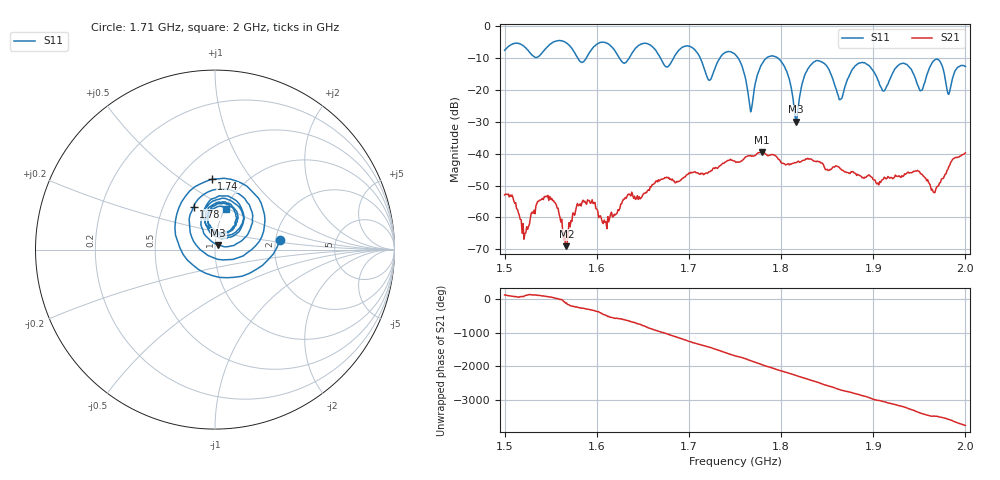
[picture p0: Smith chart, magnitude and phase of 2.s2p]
! NanoVNA-App by SYSJOINT et al v1.1.209 (+OD18)
! Date: 2026-01-21 14:18:56
! Start: 1,5GHz Stop: 2GHz Points: 501
! S-Parameter data: F S11 S21 S12 S22
# Hz S RI R 50
!  Frequency  S11_Real  S11_Imag  S21_Real  S21_Imag  S12_Real  S12_Imag  S22_Real  S22_Imag
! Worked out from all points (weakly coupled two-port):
!   501 points, 1.5 GHz to 2 GHz, reference 50 ohm
!   highest |S21| = -39.44 dB at 1.779 GHz (marker M1); lowest = -69.0 dB at 1.567 GHz (marker M2)
!   lowest |S11| = -30.0 dB at 1.816 GHz (marker M3), VSWR 1.07, Z = 51.7 + j2.74 ohm
!   |S11| at or under -10 dB: 1.712 GHz to 1.734 GHz (21.19 MHz wide, 1.23 % of centre); 1.753 GHz to 1.784 GHz (30.57 MHz wide, 1.73 % of centre); 1.797 GHz to end of sweep (the widest 3 of 6)
!   S12 and S22 are empty: the file has one direction only
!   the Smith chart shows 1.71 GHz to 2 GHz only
!   S11 on the Smith chart (normalised r, x): 1.71 GHz: 2.12, +0.26; 1.74 GHz: 0.71, +0.66; 1.78 GHz: 0.71, +0.36; 2 GHz: 1.02, +0.49
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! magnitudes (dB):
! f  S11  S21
! 1.5 GHz  -7.5  -53.0
! 1.521 GHz  -6.3  -66.8
! 1.551 GHz  -5.3  -54.0
! 1.567 GHz  -5.2  -69.0
! 1.584 GHz  -11.3  -55.3
! 1.609 GHz  -5.1  -61.5
! 1.667 GHz  -8.9  -48.1
! 1.71 GHz  -8.7  -46.1
! 1.74 GHz  -8.1  -42.5
! 1.75 GHz  -8.8  -42.4
! 1.767 GHz  -26.8  -40.5
! 1.779 GHz  -12.0  -39.4
! 1.78 GHz  -11.5  -39.5
! 1.802 GHz  -11.8  -43.0
! 1.816 GHz  -30.0  -42.8
! 1.834 GHz  -11.6  -42.0
! 1.864 GHz  -23.1  -44.6
! 1.886 GHz  -11.5  -46.9
! 1.917 GHz  -17.3  -47.4
! 1.966 GHz  -10.8  -52.2
! 1.982 GHz  -21.4  -44.0
! 2 GHz  -12.6  -39.7
